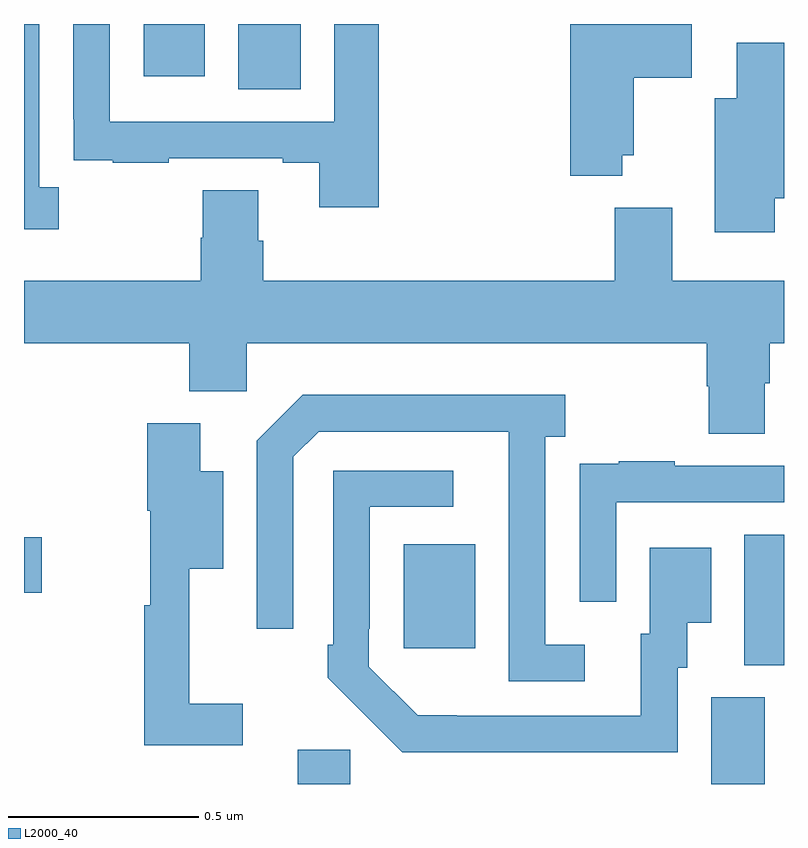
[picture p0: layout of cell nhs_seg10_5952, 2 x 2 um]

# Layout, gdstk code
import gdstk
lib = gdstk.Library(unit=1e-6, precision=1e-09)
def R(c, l, rs):  # rectangles x0, y0, x1, y1
    for r in rs: c.add(gdstk.rectangle(r[:2], r[2:], *l))
def P(c, l, *ps):  # polygons
    for p in ps: c.add(gdstk.Polygon(p, *l))
L2000_40 = (2000, 40)

nhs_seg10_5952 = lib.new_cell('nhs_seg10_5952')
R(nhs_seg10_5952, L2000_40, [(185.72,1288.5,185.859,1288.59), (186.809,1288.5,186.949,1288.728), (186.896,1288.813,187,1289.156), (185.999,1288.857,186.187,1289.131), (185,1289.003,185.047,1289.15), (185.564,1290.328,185.728,1290.5), (185.315,1290.363,185.476,1290.5)])
P(nhs_seg10_5952, L2000_40, [(185.092,1290.07),(185.04,1290.07),(185.04,1290.5),(185,1290.5),(185,1289.96),(185.092,1289.96)],
  [(186.574,1290.155),(186.604,1290.155),(186.604,1290.358),(186.757,1290.358),(186.757,1290.5),(186.437,1290.5),(186.437,1290.101),(186.574,1290.101)],
  [(185.933,1290.5),(185.817,1290.5),(185.817,1290.243),(185.226,1290.243),(185.226,1290.5),(185.13,1290.5),(185.13,1290.25),(185.131,1290.25),(185.131,1290.141),(185.233,1290.141),(185.233,1290.135),(185.381,1290.135),(185.381,1290.147),(185.681,1290.147),(185.681,1290.135),(185.777,1290.135),(185.777,1290.018),(185.933,1290.018)],
  [(186.976,1290.041),(187,1290.041),(187,1290.451),(186.875,1290.451),(186.875,1290.304),(186.818,1290.304),(186.818,1289.952),(186.976,1289.952)],
  [(186.949,1289.554),(186.962,1289.554),(186.962,1289.66),(187,1289.66),(187,1289.824),(186.706,1289.824),(186.706,1290.016),(186.554,1290.016),(186.554,1289.824),(185.63,1289.824),(185.63,1289.93),(185.617,1289.93),(185.617,1290.062),(185.47,1290.062),(185.47,1289.937),(185.465,1289.937),(185.465,1289.824),(185,1289.824),(185,1289.66),(185.435,1289.66),(185.435,1289.534),(185.586,1289.534),(185.586,1289.66),(186.797,1289.66),(186.797,1289.547),(186.802,1289.547),(186.802,1289.422),(186.949,1289.422)],
  [(186.475,1288.866),(186.372,1288.866),(186.372,1289.414),(186.424,1289.414),(186.424,1289.524),(185.734,1289.524),(185.613,1289.403),(185.613,1288.908),(185.709,1288.908),(185.709,1289.361),(185.775,1289.427),(186.275,1289.427),(186.275,1289.227),(186.276,1289.227),(186.276,1288.77),(186.475,1288.77)],
  [(185.575,1288.711),(185.435,1288.711),(185.435,1289.066),(185.524,1289.066),(185.524,1289.323),(185.464,1289.323),(185.464,1289.449),(185.324,1289.449),(185.324,1289.219),(185.332,1289.219),(185.332,1288.97),(185.317,1288.97),(185.317,1288.602),(185.575,1288.602)],
  [(186.558,1289.241),(187,1289.241),(187,1289.337),(186.713,1289.337),(186.713,1289.35),(186.565,1289.35),(186.565,1289.343),(186.463,1289.343),(186.463,1289.234),(186.462,1289.234),(186.462,1288.98),(186.558,1288.98)],
  [(186.72,1288.806),(186.745,1288.806),(186.745,1288.925),(186.808,1288.925),(186.808,1289.122),(186.647,1289.122),(186.647,1288.896),(186.623,1288.896),(186.623,1288.68),(186.139,1288.68),(186.139,1288.681),(186.036,1288.681),(185.907,1288.809),(185.907,1288.909),(185.91,1288.909),(185.91,1289.229),(186.13,1289.229),(186.13,1289.325),(185.814,1289.325),(185.814,1288.867),(185.799,1288.867),(185.799,1288.779),(185.904,1288.674),(185.905,1288.675),(185.996,1288.584),(186.72,1288.584)])

lib.write_gds('nhs_seg10_5952.gds')
